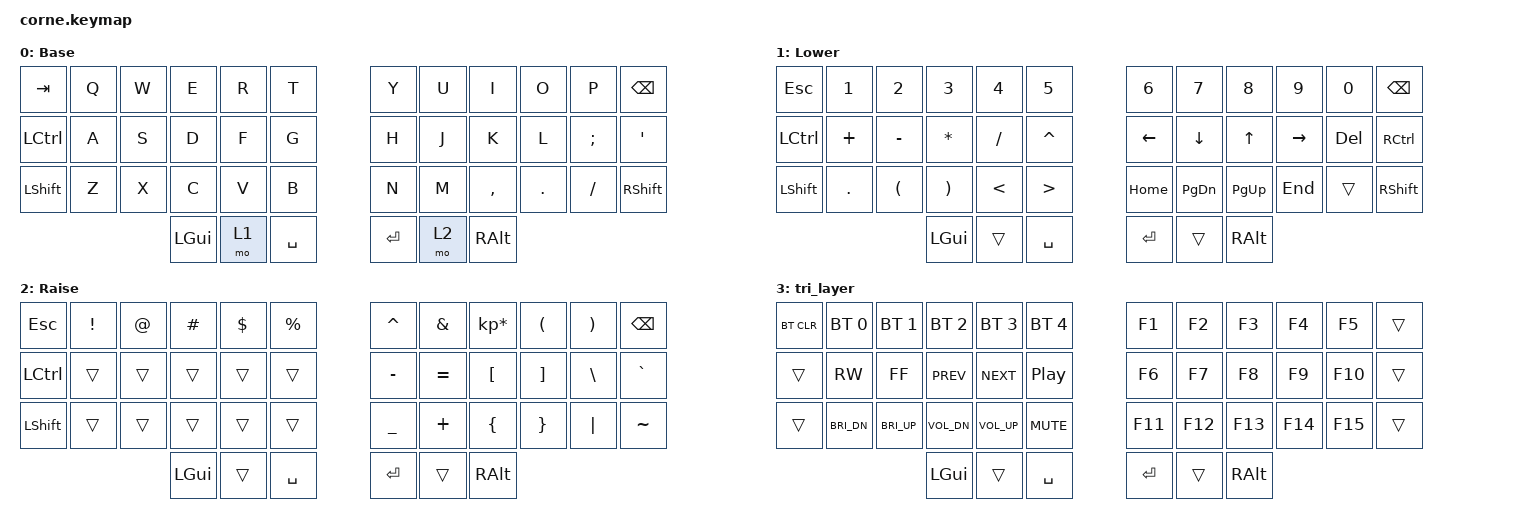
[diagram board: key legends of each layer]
/*
 * Copyright (c) 2020 The ZMK Contributors
 *
 * SPDX-License-Identifier: MIT
 */

#include <behaviors.dtsi>
#include <dt-bindings/zmk/keys.h>
#include <dt-bindings/zmk/bt.h>

/ {
        keymap {
                compatible = "zmk,keymap";

                default_layer {
// -----------------------------------------------------------------------------------------
// |  TAB |  Q  |  W  |  E  |  R  |  T  |   |  Y  |  U   |  I  |  O  |  P  | BKSP |
// | CTRL |  A  |  S  |  D  |  F  |  G  |   |  H  |  J   |  K  |  L  |  ;  |  '   |
// | SHFT |  Z  |  X  |  C  |  V  |  B  |   |  N  |  M   |  ,  |  .  |  /  | SHFT |
//                    | GUI | LWR | SPC |   | ENT | RSE  | ALT |
                        label = "Base";
                        bindings = <
   &kp TAB   &kp Q &kp W &kp E &kp R &kp T   &kp Y &kp U  &kp I     &kp O   &kp P    &kp BSPC
   &kp LCTRL &kp A &kp S &kp D &kp F &kp G   &kp H &kp J  &kp K     &kp L   &kp SEMI &kp SQT
   &kp LSHFT &kp Z &kp X &kp C &kp V &kp B   &kp N &kp M  &kp COMMA &kp DOT &kp FSLH &kp RSHFT
                  &kp LGUI &mo 1 &kp SPACE   &kp RET &mo 2 &kp RALT
                        >;
                };
                lower_layer {
// -----------------------------------------------------------------------------------------
// |  ESC |  1  |  2  |  3  |  4  |  5  |   |  6  |  7  |  8  |  9  |  0  | BKSP |
// | CTRL |  +  |  -  |  *  |  /  |  ^  |   | LFT | DWN |  UP | RGT | DEL | CTRL |
// | SHFT |  .  |  (  |  )  |  <  |  >  |   | HOME| PgDn| PgUp| END |     | SHFT |
//                    | GUI |     | SPC |   | ENT |     | ALT |
                        label = "Lower";
                        bindings = <
   &kp ESC    &kp N1    &kp N2     &kp N3    &kp N4    &kp N5     &kp N6    &kp N7    &kp N8    &kp N9    &kp N0  &kp BSPC
   &kp LCTRL  &kp PLUS  &kp MINUS  &kp STAR  &kp FSLH  &kp CARET  &kp LEFT  &kp DOWN  &kp UP    &kp RIGHT &kp DEL &kp RCTRL
   &kp LSHFT  &kp DOT   &kp LPAR   &kp RPAR  &kp LT    &kp GT     &kp HOME  &kp PG_DN &kp PG_UP &kp END   &trans  &kp RSHFT
                                    &kp LGUI  &trans  &kp SPACE  &kp RET  &trans  &kp RALT
                        >;
                };
                raise_layer {
// -----------------------------------------------------------------------------------------
// |  ESC |  !  |  @  |  #  |  $  |  %  |   |  ^  |  &  |  *  |  (  |  )  | BKSP |
// | CTRL |     |     |     |     |     |   |  -  |  =  |  [  |  ]  |  \  |  `   |
// | SHFT |     |     |     |     |     |   |  _  |  +  |  {  |  }  | "|" |  ~   |
//                    | GUI |     | SPC |   | ENT |     | ALT |
                        label = "Raise";
                        bindings = <
   &kp  ESC  &kp EXCL &kp AT &kp HASH &kp DLLR &kp PRCNT   &kp CARET &kp AMPS  &kp KP_MULTIPLY &kp LPAR &kp RPAR &kp BSPC
   &kp LCTRL &trans   &trans &trans   &trans   &trans      &kp MINUS &kp EQUAL &kp LBKT        &kp RBKT &kp BSLH &kp GRAVE
   &kp LSHFT &trans   &trans &trans   &trans   &trans      &kp UNDER &kp PLUS  &kp LBRC        &kp RBRC &kp PIPE &kp TILDE
                             &kp LGUI &trans   &kp SPACE   &kp RET   &trans    &kp RALT
                        >;
                };
                tri_layer {
// -----------------------------------------------------------------------------------------
// | BTCLR| BT1 | BT2 | BT3 | BT4 | BT5 |   | F1  | F2  | F3  | F4  | F5  |      |
// |      |Rewi | FF  | Prev| Next|Ply/P|   | F6  | F7  | F8  | F9  | F10 |      |
// |      |BriDn|BriUp|VolDn|VolUp|Mute |   | F11 | F12 | F13 | F14 | F15 |      |
//                    | GUI |     | SPC |   | ENT |     | ALT |
                        bindings = <
   &bt BT_CLR &bt BT_SEL 0 &bt BT_SEL 1 &bt BT_SEL 2 &bt BT_SEL 3 &bt BT_SEL 4   &kp F1     &kp F2       &kp F3       &kp F4    &kp F5  &trans
   &trans     &kp C_RW     &kp C_FF     &kp C_PREV   &kp C_NEXT   &kp C_PP       &kp F6     &kp F7       &kp F8       &kp F9    &kp F10 &trans
   &trans     &kp C_BRI_DN &kp C_BRI_UP &kp C_VOL_DN &kp C_VOL_UP &kp C_MUTE     &kp F11    &kp F12      &kp F13      &kp F14   &kp F15 &trans
                                    &kp LGUI     &trans       &kp SPACE      &kp RET  &trans   &kp RALT
                        >;
                };
        };
};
